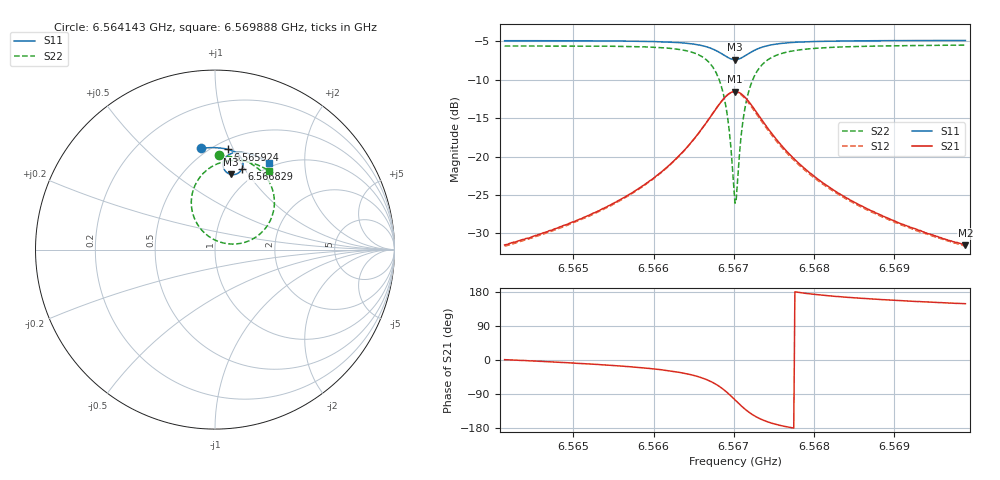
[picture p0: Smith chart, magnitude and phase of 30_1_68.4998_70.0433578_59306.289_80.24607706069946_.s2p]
#  HZ  S  RI  R  50.00
! Rohde & Schwarz Vector Network Analyzer
! Rohde-Schwarz,ZNB20-2Port,1311601062101988,3.16
! Created: UTC 3/20/2024, 5:05:02 PM
! freq[Hz]  re:S11  im:S11  re:S21  im:S21  re:S12  im:S12  re:S22  im:S22
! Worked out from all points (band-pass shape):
!   401 points, 6.564143 GHz to 6.569888 GHz, reference 50 ohm
!   highest |S21| = -11.52 dB at 6.567016 GHz (marker M1); lowest = -31.6 dB at 6.569888 GHz (marker M2)
!   |S21| within 3 dB of the highest: 6.566729 GHz to 6.567303 GHz (574.1 kHz wide, 0.00874 % of centre)
!   lowest |S11| = -7.4 dB at 6.567016 GHz (marker M3), VSWR 2.50, Z = 40.6 + j41.6 ohm
!   |S11| at or under -10 dB: nowhere
!   |S22| runs from -26.1 to -5.5 dB; largest |S21 - S12| = 0.012
!   S11 on the Smith chart (normalised r, x): 6.564143 GHz: 0.46, +0.76; 6.565924 GHz: 0.58, +0.95; 6.566829 GHz: 0.84, +0.97; 6.569888 GHz: 0.93, +1.34
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6.5641434e9  -0.0792 0.5634  0.0265 0.00041  0.026 -0.000125  0.0197 0.5246
6.5651056e9  -0.00132 0.5679  0.039 -0.00628  0.0384 -0.00696  0.1081 0.5138
6.5659242e9  0.073 0.5582  0.0628 -0.0251  0.0618 -0.0259  0.2075 0.4746
6.5660678e9  0.0876 0.5534  0.0698 -0.0327  0.0687 -0.0335  0.2302 0.4593
6.5663694e9  0.121 0.5365  0.0887 -0.061  0.0875 -0.0622  0.2857 0.403
6.5665848e9  0.1457 0.5108  0.1026 -0.1056  0.1005 -0.1075  0.325 0.3171
6.5667285e9  0.1558 0.4799  0.0989 -0.1594  0.095 -0.1623  0.3258 0.2142
6.566829e9  0.1506 0.4505  0.0725 -0.21  0.0663 -0.213  0.281 0.1189
6.5669152e9  0.13 0.4264  0.0206 -0.2494  0.0109 -0.2501  0.1864 0.0477
6.5669439e9  0.1195 0.4211  -0.00327 -0.2573  -0.0136 -0.2566  0.1433 0.0349
6.5670013e9  0.0949 0.4177  -0.0565 -0.2589  -0.0672 -0.2544  0.0486 0.0363
6.5670157e9  0.0885 0.4186  -0.0699 -0.256  -0.0804 -0.2506  0.0253 0.0427
6.5670444e9  0.0765 0.4226  -0.0955 -0.2463  -0.1051 -0.2391  -0.0185 0.0628
6.5671019e9  0.0574 0.4376  -0.137 -0.2141  -0.1438 -0.2047  -0.0865 0.124
6.567145e9  0.0485 0.4525  -0.1572 -0.1843  -0.1615 -0.174  -0.1167 0.179
6.5672024e9  0.0446 0.4729  -0.17 -0.1441  -0.1714 -0.1343  -0.1319 0.2506
6.5672742e9  0.0485 0.4951  -0.1698 -0.101  -0.1689 -0.0927  -0.1233 0.3252
6.5675327e9  0.0877 0.5342  -0.1272 -0.0218  -0.1245 -0.0183  -0.0267 0.4567
6.5679779e9  0.1462 0.5422  -0.0757 0.00815  -0.0738 0.00931  0.0941 0.4967
6.5684231e9  0.1901 0.5343  -0.0515 0.0136  -0.0503 0.0139  0.1653 0.4924
6.5689402e9  0.2331 0.5194  -0.0365 0.0144  -0.0356 0.0147  0.2235 0.4766
6.569888e9  0.3017 0.4846  -0.0225 0.0138  -0.0221 0.0139  0.3032 0.438
